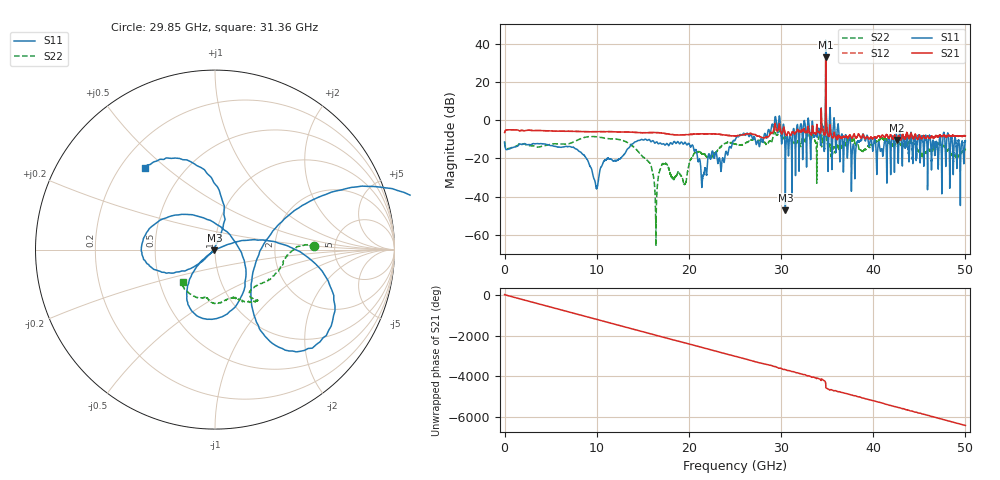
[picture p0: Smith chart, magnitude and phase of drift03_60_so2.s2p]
!Created with skrf (http://scikit-rf.org).
# Hz S RI R 50.0
!freq ReS11 ImS11 ReS21 ImS21 ReS12 ImS12 ReS22 ImS22
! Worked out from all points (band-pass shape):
!   10001 points, 300 kHz to 50 GHz, reference 50 ohm
!   highest |S21| = 32.80 dB at 34.85 GHz (marker M1); lowest = -10.3 dB at 42.55 GHz (marker M2)
!   |S21| within 3 dB of the highest: 34.84422 GHz to 34.84579 GHz (1.576 MHz wide, 0.00452 % of centre)
!   lowest |S11| = -47.1 dB at 30.47 GHz (marker M3), VSWR 1.01, Z = 49.7 - j0.334 ohm
!   |S11| at or under -10 dB: start of sweep to 15.22 GHz; 15.33 GHz to 25.05 GHz (9.726 GHz wide, 48.2 % of centre); 40.22 GHz to 41.61 GHz (1.391 GHz wide, 3.4 % of centre) (the widest 3 of 48)
!   |S22| runs from -65.9 to 23.8 dB; largest |S21 - S12| = 6.3
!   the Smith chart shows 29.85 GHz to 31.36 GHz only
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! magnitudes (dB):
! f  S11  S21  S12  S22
! 300 kHz  -11.4  -6.5  -6.5  -11.3
! 8.335 GHz  -17.1  -6.0  -6.0  -9.6
! 9.955 GHz  -35.7  -6.1  -6.1  -8.7
! 11 GHz  -20.8  -6.0  -6.0  -9.5
! 13.96 GHz  -12.2  -6.4  -6.3  -13.9
! 16.37 GHz  -11.9  -6.5  -6.5  -43.3
! 16.67 GHz  -12.4  -6.5  -6.5  -30.0
! 17.34 GHz  -12.8  -7.0  -6.9  -22.9
! 19.55 GHz  -11.7  -7.6  -7.6  -33.3
! 20.22 GHz  -13.9  -7.5  -7.5  -20.3
! 21.55 GHz  -28.6  -7.2  -7.2  -17.7
! 25 GHz  -10.6  -8.2  -8.2  -12.6
! 29.6 GHz  -5.5  -5.7  -5.9  -7.8
! 30.47 GHz  -47.1  -7.2  -7.2  -9.0
! 33.34 GHz  -3.8  -6.8  -6.7  -9.4
! 34.85 GHz  41.6  32.8  32.6  23.8
! 35.62 GHz  -7.1  -9.4  -9.1  -16.2
! 37.83 GHz  -12.7  -8.2  -8.4  -9.8
! 38.82 GHz  -8.7  -8.2  -8.1  -16.2
! 41.67 GHz  -9.3  -9.4  -9.3  -11.2
! 42.55 GHz  -8.4  -10.3  -10.4  -13.4
! 50 GHz  -10.8  -8.3  -8.3  -15.6
